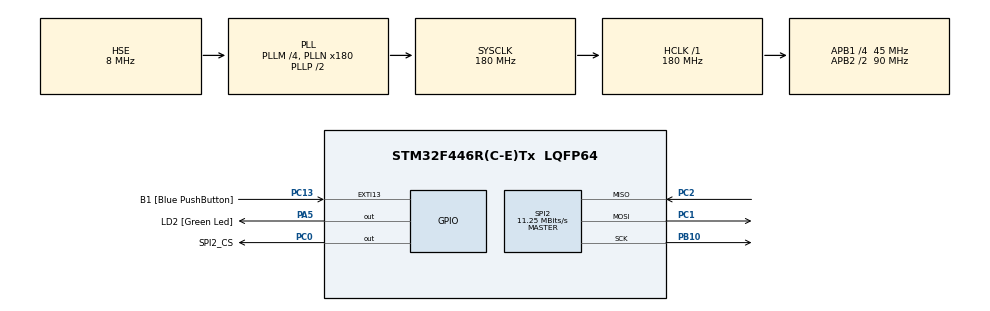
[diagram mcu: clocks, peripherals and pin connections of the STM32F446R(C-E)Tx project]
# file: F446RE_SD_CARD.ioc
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FATFS._MAX_SS=4096
FATFS._USE_LFN=1
Mcu.Family=STM32F4
Mcu.Name=STM32F446R(C-E)Tx
Mcu.Package=LQFP64
NVIC.EXTI15_10_IRQn=true\:0\:0\:false\:false\:true\:true\:true\:true
NVIC.PriorityGroup=NVIC_PRIORITYGROUP_0
PA13.GPIO_Label=TMS
PA13.Mode=Serial_Wire
PA13.Signal=SYS_JTMS-SWDIO
PA14.GPIO_Label=TCK
PA14.Mode=Serial_Wire
PA14.Signal=SYS_JTCK-SWCLK
PA5.GPIO_Label=LD2 [Green Led]
PA5.Signal=GPIO_Output
PB10.Mode=Full_Duplex_Master
PB10.Signal=SPI2_SCK
PB3.GPIO_Label=SWO
PB3.Signal=SYS_JTDO-SWO
PC0.GPIO_Label=SPI2_CS
PC0.Signal=GPIO_Output
PC1.Mode=Full_Duplex_Master
PC1.Signal=SPI2_MOSI
PC13.GPIO_Label=B1 [Blue PushButton]
PC13.GPIO_ModeDefaultEXTI=GPIO_MODE_IT_FALLING
PC13.Signal=GPXTI13
PC2.Mode=Full_Duplex_Master
PC2.Signal=SPI2_MISO
PH0-OSC_IN.Mode=HSE-External-Oscillator
PH0-OSC_IN.Signal=RCC_OSC_IN
PH1-OSC_OUT.Mode=HSE-External-Oscillator
PH1-OSC_OUT.Signal=RCC_OSC_OUT
ProjectManager.HeapSize=0x200
ProjectManager.StackSize=0x400
ProjectManager.TargetToolchain=STM32CubeIDE
RCC.48MHZClocksFreq_Value=84000000
RCC.AHBFreq_Value=180000000
RCC.APB1CLKDivider=RCC_HCLK_DIV4
RCC.APB1Freq_Value=45000000
RCC.APB1TimFreq_Value=90000000
RCC.APB2CLKDivider=RCC_HCLK_DIV2
RCC.APB2Freq_Value=90000000
RCC.APB2TimFreq_Value=180000000
RCC.CortexFreq_Value=180000000
RCC.FLatency-AdvancedSettings=FLASH_LATENCY_5
RCC.HCLKFreq_Value=180000000
RCC.HSE_VALUE=8000000
RCC.HSI_VALUE=16000000
RCC.PLLM=4
RCC.PLLN=180
RCC.PLLSourceVirtual=RCC_PLLSOURCE_HSE
RCC.SYSCLKFreq_VALUE=180000000
RCC.SYSCLKSource=RCC_SYSCLKSOURCE_PLLCLK
RCC.USBFreq_Value=180000000
RCC.VCOOutputFreq_Value=360000000
SPI2.BaudRatePrescaler=SPI_BAUDRATEPRESCALER_4
SPI2.CalculateBaudRate=11.25 MBits/s
SPI2.Direction=SPI_DIRECTION_2LINES
SPI2.Mode=SPI_MODE_MASTER
SPI2.VirtualType=VM_MASTER
VP_FATFS_VS_Generic.Mode=User_defined
board=NUCLEO-F446RE

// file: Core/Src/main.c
/* USER CODE BEGIN Header */
/**
  ******************************************************************************
  * @file           : main.c
  * @brief          : Main program body
  ******************************************************************************
  * @attention
  *
  * Copyright (c) 2023 STMicroelectronics.
  * All rights reserved.
  *
  * This software is licensed under terms that can be found in the LICENSE file
  * in the root directory of this software component.
  * If no LICENSE file comes with this software, it is provided AS-IS.
  *
  ******************************************************************************
  */
/* USER CODE END Header */
#include "main.h"
#include "fatfs.h"
#include "spi.h"
#include "gpio.h"

/* USER CODE BEGIN Includes */
#include "fatfs_sd.h"
#include "string.h"
#include "stdio.h"
#include "stdbool.h"
/* USER CODE END Includes */

/* USER CODE BEGIN PD */
#define MAX_LEN 25
/* USER CODE END PD */

/* USER CODE BEGIN PV */
char * file_name = "Measurement4.txt";
uint8_t counter = 0;
volatile uint8_t writing_is_active = 0;
/* USER CODE END PV */

void SystemClock_Config(void);
/* USER CODE BEGIN PFP */
FRESULT LB_update_logs(char * file_name, const uint8_t * p_counter);
/* USER CODE END PFP */

int main(void)
{

  /* MCU Configuration--------------------------------------------------------*/

  /* Reset of all peripherals, Initializes the Flash interface and the Systick. */
  HAL_Init();

  /* Configure the system clock */
  SystemClock_Config();

  /* Initialize all configured peripherals */
  MX_GPIO_Init();
  MX_SPI2_Init();
  MX_FATFS_Init();

  /* Infinite loop */
  /* USER CODE BEGIN WHILE */
  while (1)
  {
	  if (1 == writing_is_active)
	  {
		  LB_update_logs(file_name, &counter);
	  	  counter++;
	  	writing_is_active = 0;
	  }
    /* USER CODE END WHILE */

  }
}

void SystemClock_Config(void)
{
  RCC_OscInitTypeDef RCC_OscInitStruct = {0};
  RCC_ClkInitTypeDef RCC_ClkInitStruct = {0};

  /** Configure the main internal regulator output voltage
  */
  __HAL_RCC_PWR_CLK_ENABLE();
  __HAL_PWR_VOLTAGESCALING_CONFIG(PWR_REGULATOR_VOLTAGE_SCALE1);

  /** Initializes the RCC Oscillators according to the specified parameters
  * in the RCC_OscInitTypeDef structure.
  */
  RCC_OscInitStruct.OscillatorType = RCC_OSCILLATORTYPE_HSE;
  RCC_OscInitStruct.HSEState = RCC_HSE_ON;
  RCC_OscInitStruct.PLL.PLLState = RCC_PLL_ON;
  RCC_OscInitStruct.PLL.PLLSource = RCC_PLLSOURCE_HSE;
  RCC_OscInitStruct.PLL.PLLM = 4;
  RCC_OscInitStruct.PLL.PLLN = 180;
  RCC_OscInitStruct.PLL.PLLP = RCC_PLLP_DIV2;
  RCC_OscInitStruct.PLL.PLLQ = 2;
  RCC_OscInitStruct.PLL.PLLR = 2;
  if (HAL_RCC_OscConfig(&RCC_OscInitStruct) != HAL_OK)
  {
    Error_Handler();
  }

  /** Activate the Over-Drive mode
  */
  if (HAL_PWREx_EnableOverDrive() != HAL_OK)
  {
    Error_Handler();
  }

  /** Initializes the CPU, AHB and APB buses clocks
  */
  RCC_ClkInitStruct.ClockType = RCC_CLOCKTYPE_HCLK|RCC_CLOCKTYPE_SYSCLK
                              |RCC_CLOCKTYPE_PCLK1|RCC_CLOCKTYPE_PCLK2;
  RCC_ClkInitStruct.SYSCLKSource = RCC_SYSCLKSOURCE_PLLCLK;
  RCC_ClkInitStruct.AHBCLKDivider = RCC_SYSCLK_DIV1;
  RCC_ClkInitStruct.APB1CLKDivider = RCC_HCLK_DIV4;
  RCC_ClkInitStruct.APB2CLKDivider = RCC_HCLK_DIV2;

  if (HAL_RCC_ClockConfig(&RCC_ClkInitStruct, FLASH_LATENCY_5) != HAL_OK)
  {
    Error_Handler();
  }
}

/* USER CODE BEGIN 4 */
FRESULT LB_update_logs(char * file_name, const uint8_t * p_counter)
{
	FATFS fs;
	FIL fil;
	FRESULT fresult;
	uint8_t message[MAX_LEN];

	// Mount SD Card
	if ( FR_DISK_ERR == (fresult = f_mount(&fs, "", 1)) )
	{
		FATFS_UnLinkDriver(USERPath);
		MX_FATFS_Init();
		if ( FR_OK != (fresult = f_mount(&fs, "", 1)) )
		{
			fresult = f_mount(NULL, "", 1);
			return fresult;
		}
	}

	// Open the file with write access
	if ( FR_OK != (fresult = f_open(&fil, file_name, FA_OPEN_EXISTING | FA_WRITE)) )
	{
		if ( FR_OK != (fresult = f_open(&fil, file_name, FA_OPEN_ALWAYS | FA_WRITE)) )
		{
			// Unmount SD CARD
			fresult = f_mount(NULL, "", 1);
			return fresult;
		}
		fresult = f_puts("Measurement 180 MHz\r\n\r\n", &fil);
	}

	// Move offset to the end of file
	fresult = f_lseek(&fil, f_size(&fil));

	// Update data

	/*** Updating an existing file ***/
	// Write a string to the file
	sprintf( (char *) message, "counter = %04u\r\n",  *p_counter );
	fresult = f_puts((TCHAR *) message, &fil);

	// Close the file
	f_close(&fil);

	// Unmount SD CARD
	fresult = f_mount(NULL, "", 1);

	return fresult;
}
/* USER CODE END 4 */

void Error_Handler(void)
{
  __disable_irq();
  while (1)
  {
  }
}
